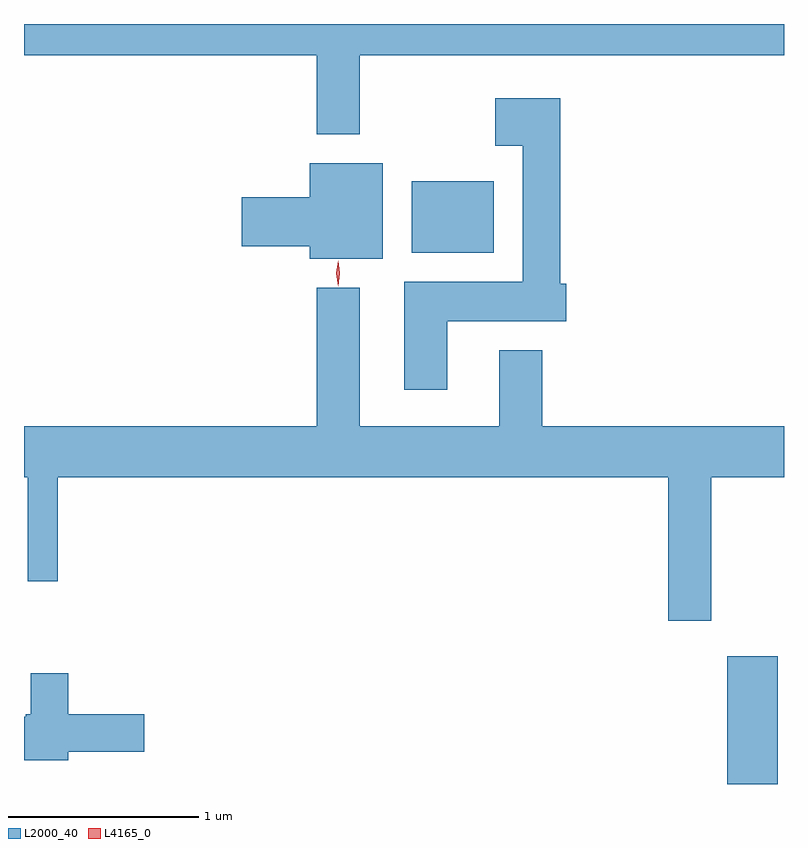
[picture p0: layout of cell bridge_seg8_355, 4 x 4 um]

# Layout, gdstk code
import gdstk
lib = gdstk.Library(unit=1e-6, precision=1e-09)
def R(c, l, rs):  # rectangles x0, y0, x1, y1
    for r in rs: c.add(gdstk.rectangle(r[:2], r[2:], *l))
def P(c, l, *ps):  # polygons
    for p in ps: c.add(gdstk.Polygon(p, *l))
L2000_40 = (2000, 40)
L4165_0 = (4165, 0)

bridge_seg8_355 = lib.new_cell('bridge_seg8_355')
R(bridge_seg8_355, L2000_40, [(822.431,1881.421,822.699,1882.094), (820.771,1884.216,821.204,1884.594)])
P(bridge_seg8_355, L2000_40, [(820.499,1885.256),(822.731,1885.256),(822.731,1885.421),(818.731,1885.421),(818.731,1885.256),(820.271,1885.256),(820.271,1884.841),(820.499,1884.841)],
  [(820.959,1883.856),(821.584,1883.856),(821.584,1884.054),(821.554,1884.054),(821.554,1885.029),(821.211,1885.029),(821.211,1884.781),(821.356,1884.781),(821.356,1884.064),(820.731,1884.064),(820.731,1883.496),(820.959,1883.496)],
  [(820.619,1884.689),(820.236,1884.689),(820.236,1884.509),(819.876,1884.509),(819.876,1884.251),(820.236,1884.251),(820.236,1884.186),(820.619,1884.186)],
  [(822.349,1883.036),(822.731,1883.036),(822.731,1883.304),(821.459,1883.304),(821.459,1883.704),(821.231,1883.704),(821.231,1883.304),(820.499,1883.304),(820.499,1884.034),(820.271,1884.034),(820.271,1883.304),(818.731,1883.304),(818.731,1883.036),(818.751,1883.036),(818.751,1882.488),(818.909,1882.488),(818.909,1883.036),(822.121,1883.036),(822.121,1882.281),(822.349,1882.281)],
  [(818.964,1881.591),(819.364,1881.591),(819.364,1881.789),(818.964,1881.789),(818.964,1882.004),(818.766,1882.004),(818.766,1881.789),(818.74,1881.789),(818.74,1881.774),(818.731,1881.774),(818.731,1881.546),(818.964,1881.546)])
P(bridge_seg8_355, L4165_0, [(820.385,1884.041),(820.384,1884.042),(820.375,1884.108),(820.384,1884.174),(820.384,1884.175),(820.385,1884.174),(820.394,1884.108),(820.385,1884.042)])

lib.write_gds('bridge_seg8_355.gds')
